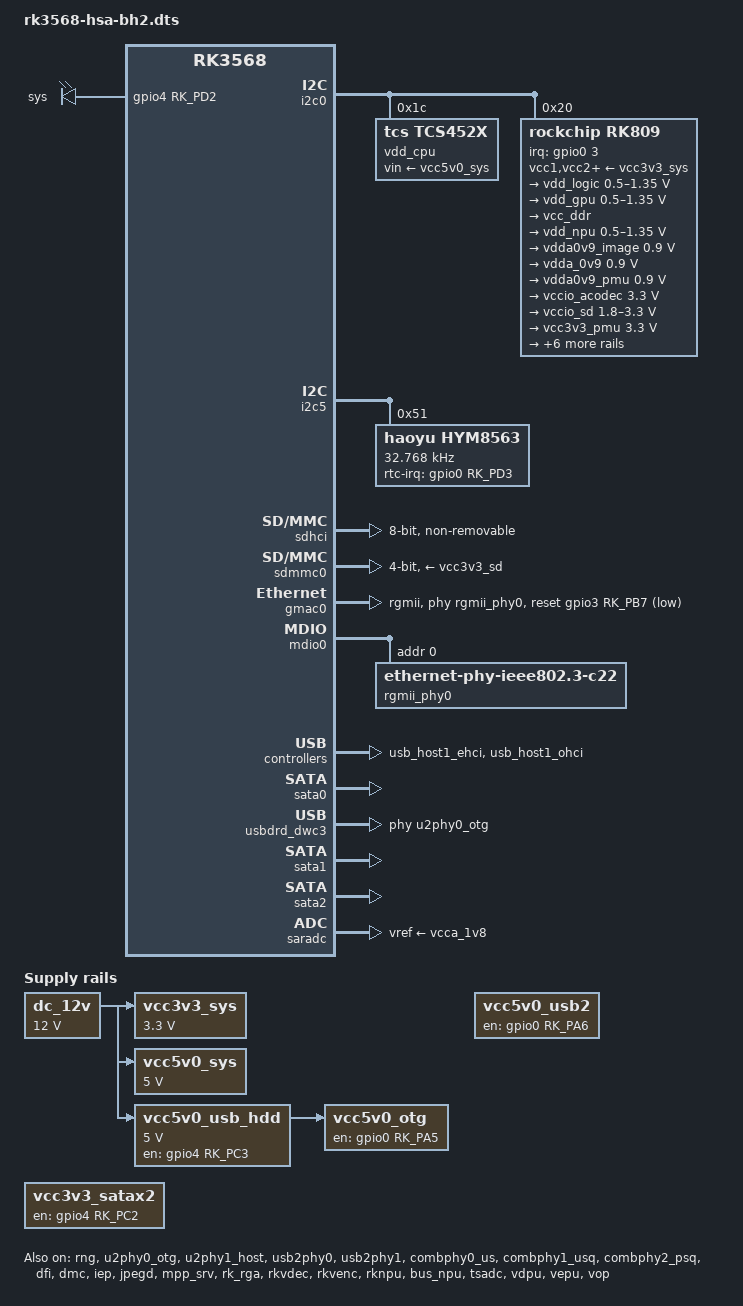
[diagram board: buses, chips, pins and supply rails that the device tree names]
// SPDX-License-Identifier: (GPL-2.0+ OR MIT)
/*
* Copyright (c) 2020 Rockchip Electronics Co., Ltd.
*
*/

/dts-v1/;

#include <dt-bindings/gpio/gpio.h>
#include <dt-bindings/pwm/pwm.h>
#include <dt-bindings/pinctrl/rockchip.h>
#include <dt-bindings/input/rk-input.h>
#include <dt-bindings/display/drm_mipi_dsi.h>
#include <dt-bindings/sensor-dev.h>
#include "rk3568.dtsi"

/ {
    compatible = "hsa,bh2", "rockchip,rk3568";

	aliases {
		led-boot = &led_sys;
		led-failsafe = &led_sys;
		led-running = &led_sys;
		led-upgrade = &led_sys;
	};

	chosen: chosen {
		bootargs = "earlycon=uart8250,mmio32,0xfe660000 console=ttyFIQ0 root=PARTLABEL=rootfs rootfstype=ext4 ro rootwait overlayroot=device:dev=PARTLABEL=userdata,fstype=ext4,mkfs=1 coherent_pool=1m systemd.gpt_auto=0 cgroup_enable=memory swapaccount=1";
	};

	fiq-debugger {
		compatible = "rockchip,fiq-debugger";
		rockchip,serial-id = <2>;
		rockchip,wake-irq = <0>;
		/* If enable uart uses irq instead of fiq */
		rockchip,irq-mode-enable = <1>;
		rockchip,baudrate = <1500000>;  /* Only 115200 and 1500000 */
		interrupts = <GIC_SPI 252 IRQ_TYPE_LEVEL_LOW>;
		pinctrl-names = "default";
		pinctrl-0 = <&uart2m0_xfer>;
		status = "okay";
	};

	debug: debug@fd904000 {
		compatible = "rockchip,debug";
		reg = <0x0 0xfd904000 0x0 0x1000>,
			<0x0 0xfd905000 0x0 0x1000>,
			<0x0 0xfd906000 0x0 0x1000>,
			<0x0 0xfd907000 0x0 0x1000>;
	};

	cspmu: cspmu@fd90c000 {
		compatible = "rockchip,cspmu";
		reg = <0x0 0xfd90c000 0x0 0x1000>,
			<0x0 0xfd90d000 0x0 0x1000>,
			<0x0 0xfd90e000 0x0 0x1000>,
			<0x0 0xfd90f000 0x0 0x1000>;
	};

    dc_12v: dc-12v {
        compatible = "regulator-fixed";
        regulator-name = "dc_12v";
        regulator-always-on;
        regulator-boot-on;
        regulator-min-microvolt = <12000000>;
        regulator-max-microvolt = <12000000>;
    };

    vcc3v3_sys: vcc3v3-sys {
        compatible = "regulator-fixed";
        regulator-name = "vcc3v3_sys";
        regulator-always-on;
        regulator-boot-on;
        regulator-min-microvolt = <3300000>;
        regulator-max-microvolt = <3300000>;
        vin-supply = <&dc_12v>;
    };

    vcc5v0_sys: vcc5v0-sys {
        compatible = "regulator-fixed";
        regulator-name = "vcc5v0_sys";
        regulator-always-on;
        regulator-boot-on;
        regulator-min-microvolt = <5000000>;
        regulator-max-microvolt = <5000000>;
        vin-supply = <&dc_12v>;
    };

	vcc5v0_usb_hdd: vcc5v0-usb-hdd {
		compatible = "regulator-fixed";
		regulator-name = "vcc5v0_usb_hdd";
		regulator-always-on;
		regulator-boot-on;
		regulator-min-microvolt = <5000000>;
		regulator-max-microvolt = <5000000>;
		vin-supply = <&dc_12v>;
        enable-active-high;
        gpio = <&gpio4 RK_PC3 GPIO_ACTIVE_HIGH>;
        pinctrl-names = "default";
        pinctrl-0 = <&vcc5v0_usb_hdd_en>;
	};

    vcc5v0_otg: vcc5v0-otg-regulator {
        compatible = "regulator-fixed";
        enable-active-high;
        gpio = <&gpio0 RK_PA5 GPIO_ACTIVE_HIGH>;
        pinctrl-names = "default";
        pinctrl-0 = <&vcc5v0_otg_en>;
        regulator-name = "vcc5v0_otg";
        vin-supply = <&vcc5v0_usb_hdd>;
    };

	vcc5v0_usb2: vcc5v0-usb2-regulator {
		compatible = "regulator-fixed";
		enable-active-high;
		gpio = <&gpio0 RK_PA6 GPIO_ACTIVE_HIGH>;
		pinctrl-names = "default";
		pinctrl-0 = <&vcc5v0_usb2_en>;
		regulator-name = "vcc5v0_usb2";
		regulator-always-on;
	};

	vcc3v3_satax2: vcc3v3-satax2-regulator {
		compatible = "regulator-fixed";
		enable-active-high;
		gpio = <&gpio4 RK_PC2 GPIO_ACTIVE_HIGH>;
		pinctrl-names = "default";
		pinctrl-0 = <&vcc3v3_satax2_en>;
		regulator-name = "vcc3v3_satax2";
		regulator-always-on;
	};

	leds {
		compatible = "gpio-leds";
		pinctrl-names = "default";
		pinctrl-0 =
            <&led_sys_en>;

		led_sys: sys {
			gpios = <&gpio4 RK_PD2 GPIO_ACTIVE_HIGH>;
			label = "sys";
			default-state = "on";
		};
	};
};

&reserved_memory {
	ramoops: ramoops@110000 {
		compatible = "ramoops";
		reg = <0x0 0x110000 0x0 0xf0000>;
		record-size = <0x20000>;
		console-size = <0x80000>;
		ftrace-size = <0x00000>;
		pmsg-size = <0x50000>;
	};
};

&rng {
	status = "okay";
};

&rockchip_suspend {
	status = "okay";
};

&pmu_io_domains {
    status = "okay";
    pmuio1-supply = <&vcc3v3_pmu>;
    pmuio2-supply = <&vcc3v3_pmu>;
    vccio1-supply = <&vccio_acodec>;
    vccio3-supply = <&vccio_sd>;
    vccio4-supply = <&vcc_1v8>;
    vccio5-supply = <&vcc_3v3>;
    vccio6-supply = <&vcc_1v8>;
    vccio7-supply = <&vcc_3v3>;
};

&i2c0 {
    status = "okay";

    vdd_cpu: tcs4525@1c {
        compatible = "tcs,tcs452x";
        reg = <0x1c>;
        vin-supply = <&vcc5v0_sys>;
        regulator-compatible = "fan53555-reg";
        regulator-name = "vdd_cpu";
        regulator-min-microvolt = <712500>;
        regulator-max-microvolt = <1390000>;
        regulator-ramp-delay = <2300>;
        fcs,suspend-voltage-selector = <1>;
        regulator-boot-on;
        regulator-always-on;
        regulator-state-mem {
            regulator-off-in-suspend;
        };
    };

    rk809: pmic@20 {
        compatible = "rockchip,rk809";
        reg = <0x20>;
        interrupt-parent = <&gpio0>;
        interrupts = <3 IRQ_TYPE_LEVEL_LOW>;

        pinctrl-names = "default", "pmic-sleep",
                "pmic-power-off", "pmic-reset";
        pinctrl-0 = <&pmic_int>;
        pinctrl-1 = <&soc_slppin_slp>, <&rk817_slppin_slp>;
        pinctrl-2 = <&soc_slppin_gpio>, <&rk817_slppin_pwrdn>;
        pinctrl-3 = <&soc_slppin_gpio>, <&rk817_slppin_rst>;

        rockchip,system-power-controller;
        wakeup-source;
        #clock-cells = <1>;
        clock-output-names = "rk808-clkout1", "rk808-clkout2";
        //fb-inner-reg-idxs = <2>;
        /* 1: rst regs (default in codes), 0: rst the pmic */
        pmic-reset-func = <0>;
        /* not save the PMIC_POWER_EN register in uboot */
        not-save-power-en = <1>;

        vcc1-supply = <&vcc3v3_sys>;
        vcc2-supply = <&vcc3v3_sys>;
        vcc3-supply = <&vcc3v3_sys>;
        vcc4-supply = <&vcc3v3_sys>;
        vcc5-supply = <&vcc3v3_sys>;
        vcc6-supply = <&vcc3v3_sys>;
        vcc7-supply = <&vcc3v3_sys>;
        vcc8-supply = <&vcc3v3_sys>;
        vcc9-supply = <&vcc3v3_sys>;

        pwrkey {
            status = "okay";
        };

        pinctrl_rk8xx: pinctrl_rk8xx {
            gpio-controller;
            #gpio-cells = <2>;

            rk817_slppin_null: rk817_slppin_null {
                pins = "gpio_slp";
                function = "pin_fun0";
            };

            rk817_slppin_slp: rk817_slppin_slp {
                pins = "gpio_slp";
                function = "pin_fun1";
            };

            rk817_slppin_pwrdn: rk817_slppin_pwrdn {
                pins = "gpio_slp";
                function = "pin_fun2";
            };

            rk817_slppin_rst: rk817_slppin_rst {
                pins = "gpio_slp";
                function = "pin_fun3";
            };
        };

        regulators {
            vdd_logic: DCDC_REG1 {
                regulator-always-on;
                regulator-boot-on;
                regulator-min-microvolt = <500000>;
                regulator-max-microvolt = <1350000>;
                regulator-init-microvolt = <900000>;
                regulator-ramp-delay = <6001>;
                regulator-initial-mode = <0x2>;
                regulator-name = "vdd_logic";
                regulator-state-mem {
                    regulator-off-in-suspend;
                };
            };

            vdd_gpu: DCDC_REG2 {
                regulator-always-on;
                regulator-boot-on;
                regulator-min-microvolt = <500000>;
                regulator-max-microvolt = <1350000>;
                regulator-init-microvolt = <900000>;
                regulator-ramp-delay = <6001>;
                regulator-initial-mode = <0x2>;
                regulator-name = "vdd_gpu";
                regulator-state-mem {
                    regulator-off-in-suspend;
                };
            };

            vcc_ddr: DCDC_REG3 {
                regulator-always-on;
                regulator-boot-on;
                regulator-initial-mode = <0x2>;
                regulator-name = "vcc_ddr";
                regulator-state-mem {
                    regulator-on-in-suspend;
                };
            };

            vdd_npu: DCDC_REG4 {
                regulator-always-on;
                regulator-boot-on;
                regulator-min-microvolt = <500000>;
                regulator-max-microvolt = <1350000>;
                regulator-init-microvolt = <900000>;
                regulator-ramp-delay = <6001>;
                regulator-initial-mode = <0x2>;
                regulator-name = "vdd_npu";
                regulator-state-mem {
                    regulator-off-in-suspend;
                };
            };

            vdda0v9_image: LDO_REG1 {
                regulator-boot-on;
                regulator-always-on;
                regulator-min-microvolt = <900000>;
                regulator-max-microvolt = <900000>;
                regulator-name = "vdda0v9_image";
                regulator-state-mem {
                    regulator-off-in-suspend;
                };
            };

            vdda_0v9: LDO_REG2 {
                regulator-always-on;
                regulator-boot-on;
                regulator-min-microvolt = <900000>;
                regulator-max-microvolt = <900000>;
                regulator-name = "vdda_0v9";
                regulator-state-mem {
                    regulator-off-in-suspend;
                };
            };

            vdda0v9_pmu: LDO_REG3 {
                regulator-always-on;
                regulator-boot-on;
                regulator-min-microvolt = <900000>;
                regulator-max-microvolt = <900000>;
                regulator-name = "vdda0v9_pmu";
                regulator-state-mem {
                    regulator-on-in-suspend;
                    regulator-suspend-microvolt = <900000>;
                };
            };

            vccio_acodec: LDO_REG4 {
                regulator-always-on;
                regulator-boot-on;
                regulator-min-microvolt = <3300000>;
                regulator-max-microvolt = <3300000>;
                regulator-name = "vccio_acodec";
                regulator-state-mem {
                    regulator-off-in-suspend;
                };
            };

            vccio_sd: LDO_REG5 {
                regulator-always-on;
                regulator-boot-on;
                regulator-min-microvolt = <1800000>;
                regulator-max-microvolt = <3300000>;
                regulator-name = "vccio_sd";
                regulator-state-mem {
                    regulator-off-in-suspend;
                };
            };

            vcc3v3_pmu: LDO_REG6 {
                regulator-always-on;
                regulator-boot-on;
                regulator-min-microvolt = <3300000>;
                regulator-max-microvolt = <3300000>;
                regulator-name = "vcc3v3_pmu";
                regulator-state-mem {
                    regulator-on-in-suspend;
                    regulator-suspend-microvolt = <3300000>;
                };
            };

            vcca_1v8: LDO_REG7 {
                regulator-always-on;
                regulator-boot-on;
                regulator-min-microvolt = <1800000>;
                regulator-max-microvolt = <1800000>;
                regulator-name = "vcca_1v8";
                regulator-state-mem {
                    regulator-off-in-suspend;
                };
            };

            vcca1v8_pmu: LDO_REG8 {
                regulator-always-on;
                regulator-boot-on;
                regulator-min-microvolt = <1800000>;
                regulator-max-microvolt = <1800000>;
                regulator-name = "vcca1v8_pmu";
                regulator-state-mem {
                    regulator-on-in-suspend;
                    regulator-suspend-microvolt = <1800000>;
                };
            };

            vcca1v8_image: LDO_REG9 {
                regulator-always-on;
                regulator-boot-on;
                regulator-min-microvolt = <1800000>;
                regulator-max-microvolt = <1800000>;
                regulator-name = "vcca1v8_image";
                regulator-state-mem {
                    regulator-off-in-suspend;
                };
            };

            vcc_1v8: DCDC_REG5 {
                regulator-always-on;
                regulator-boot-on;
                regulator-min-microvolt = <1800000>;
                regulator-max-microvolt = <1800000>;
                regulator-name = "vcc_1v8";
                regulator-state-mem {
                    regulator-off-in-suspend;
                };
            };

            vcc_3v3: SWITCH_REG1 {
                regulator-always-on;
                regulator-boot-on;
                regulator-name = "vcc_3v3";
                regulator-state-mem {
                    regulator-off-in-suspend;
                };
            };

            vcc3v3_sd: SWITCH_REG2 {
                regulator-always-on;
                regulator-boot-on;
                regulator-name = "vcc3v3_sd";
                regulator-state-mem {
                    regulator-off-in-suspend;
                };
            };
        };

		rtc {
			status = "okay";
		};
    };
};

&i2c5 {
    status = "okay";

    hym8563: hym8563@51 {
        status = "okay";
        compatible = "haoyu,hym8563";
        reg = <0x51>;
        #clock-cells = <0>;
        rtc-irq-gpio = <&gpio0 RK_PD3 IRQ_TYPE_EDGE_FALLING>;
        clock-frequency = <32768>;
        //clock-output-names = "xin32k";
        /* rtc_int is not connected */
    };
};

// Storage
// EMMC
&sdhci {
    bus-width = <8>;
    supports-emmc;
    non-removable;
    max-frequency = <200000000>;
    status = "okay";
};

// SD
&sdmmc0 {
    max-frequency = <150000000>;
    supports-sd;
    bus-width = <4>;
    cap-mmc-highspeed;
    cap-sd-highspeed;
    disable-wp;
    sd-uhs-sdr104;
    vmmc-supply = <&vcc3v3_sd>;
    vqmmc-supply = <&vccio_sd>;
    pinctrl-names = "default";
    pinctrl-0 = <&sdmmc0_bus4 &sdmmc0_clk &sdmmc0_cmd &sdmmc0_det>;
    status = "okay";
};

// NETWORK
&gmac0 {
    phy-mode = "rgmii";
    clock_in_out = "output";

    snps,reset-gpio = <&gpio3 RK_PB7 GPIO_ACTIVE_LOW>;
    snps,reset-active-low;
    /* Reset time is 20ms, 100ms for rtl8211f */
    snps,reset-delays-us = <0 20000 100000>;

    assigned-clocks = <&cru SCLK_GMAC0_RX_TX>, <&cru SCLK_GMAC0>;
    assigned-clock-parents = <&cru SCLK_GMAC0_RGMII_SPEED>, <&cru CLK_MAC0_2TOP>;
    assigned-clock-rates = <0>, <125000000>;

    pinctrl-names = "default";
    pinctrl-0 = <&gmac0_miim
            &gmac0_tx_bus2
            &gmac0_rx_bus2
            &gmac0_rgmii_clk
            &gmac0_rgmii_bus>;

    tx_delay = <0x3c>;
    rx_delay = <0x2f>;

    phy-handle = <&rgmii_phy0>;
    status = "okay";
};

&mdio0 {
    rgmii_phy0: phy@0 {
        compatible = "ethernet-phy-ieee802.3-c22";
        reg = <0x0>;
    };
};

// USB2 PHY
&u2phy0_otg {
    vbus-supply = <&vcc5v0_otg>;
    status = "okay";
};

&u2phy0_host {
    status = "disabled";
};

&u2phy1_otg {
    status = "disabled";
};

&u2phy1_host {
    phy-supply = <&vcc5v0_usb2>;
    status = "okay";
};

&usb2phy0 {
    status = "okay";
};

&usb2phy1 {
    status = "okay";
};

// USB2 HOST
&usb_host0_ehci {
    status = "disabled";
};

&usb_host0_ohci {
    status = "disabled";
};

&usb_host1_ehci {
    status = "okay";
};

&usb_host1_ohci {
    status = "okay";
};

// PCIE3
&pcie30phy {
    status = "disabled";
};
&pcie3x1 {
    status = "disabled";
};
&pcie3x2 {
    status = "disabled";
};

// START MULTI_PHY
// MULTI_PHY0
&combphy0_us {
    rockchip,dis-u3otg0-port; /* disable USB3.0 */
    status = "okay";
};

&sata0 {
    pinctrl-names = "default";
    pinctrl-0 = <&sata0_pins>;
    status = "okay";
};

&usbdrd_dwc3 {
    phys = <&u2phy0_otg>;
    phy-names = "usb2-phy";
    extcon = <&usb2phy0>;
    maximum-speed = "high-speed"; /* only USB2.0 */
    snps,dis_u2_susphy_quirk; /* only USB2.0 */
    status = "okay";
};

&usbdrd30 {
    status = "disabled";
};

// MULTI_PHY1
&combphy1_usq {
    status = "okay";
};

&sata1 {
    pinctrl-names = "default";
    pinctrl-0 = <&sata1_pins>;
    status = "okay";
};

&usbhost_dwc3 {
    status = "disabled";
};

&usbhost30 {
    status = "disabled";
};

// MULTI_PHY2
&combphy2_psq {
    status = "okay";
};

&sata2 {
    pinctrl-names = "default";
    pinctrl-0 = <&sata2_pins>;
    status = "okay";
};

&pcie2x1 {
    status = "disabled";
};

// END MULTI_PHY

&cpu0 {
    cpu-supply = <&vdd_cpu>;
};

&dfi {
    status = "okay";
};

&dmc {
    center-supply = <&vdd_logic>;
    status = "okay";
};

&gpu {
    mali-supply = <&vdd_gpu>;
    status = "disabled";
};

&iep {
    status = "okay";
};

&iep_mmu {
    status = "okay";
};

&jpegd {
    status = "okay";
};

&jpegd_mmu {
    status = "okay";
};

&mpp_srv {
    status = "okay";
};

&rk_rga {
    status = "okay";
};

&rkvdec {
    status = "okay";
};

&rkvdec_mmu {
    status = "okay";
};

&rkvenc {
    venc-supply = <&vdd_logic>;
    status = "okay";
};

&rkvenc_mmu {
    status = "okay";
};

&rknpu {
    rknpu-supply = <&vdd_npu>;
    status = "okay";
};

&rknpu_mmu {
    status = "okay";
};

&bus_npu {
    bus-supply = <&vdd_logic>;
    pvtm-supply = <&vdd_cpu>;
    status = "okay";
};

&saradc {
    status = "okay";
    vref-supply = <&vcca_1v8>;
};

&tsadc {
    status = "okay";
};

&vdpu {
    status = "okay";
};

&vdpu_mmu {
    status = "okay";
};

&vepu {
    status = "okay";
};

&vepu_mmu {
    status = "okay";
};

&vop {
    status = "okay";
    disable-win-move;
    assigned-clocks = <&cru DCLK_VOP0>, <&cru DCLK_VOP1>;
    assigned-clock-parents = <&pmucru PLL_HPLL>, <&cru PLL_VPLL>;
};

&vop_mmu {
    status = "okay";
};

&pinctrl {

    pmic {
        pmic_int: pmic_int {
            rockchip,pins =
                <0 RK_PA3 RK_FUNC_GPIO &pcfg_pull_up>;
        };

        soc_slppin_gpio: soc_slppin_gpio {
            rockchip,pins =
                <0 RK_PA2 RK_FUNC_GPIO &pcfg_output_low_pull_down>;
        };

        soc_slppin_slp: soc_slppin_slp {
            rockchip,pins =
                <0 RK_PA2 RK_FUNC_1 &pcfg_pull_up>;
        };

        soc_slppin_rst: soc_slppin_rst {
            rockchip,pins =
                <0 RK_PA2 RK_FUNC_2 &pcfg_pull_none>;
        };
    };

    usb_hdd_power {
        vcc5v0_usb_hdd_en: vcc5v0-usb-hdd-en {
            rockchip,pins = <4 RK_PC3 RK_FUNC_GPIO &pcfg_pull_none>;
        };
    };

    sata {
        vcc3v3_satax2_en: vcc3v3-satax2-en {
            rockchip,pins = <4 RK_PC2 RK_FUNC_GPIO &pcfg_pull_none>;
        };
    };

    usb {
        vcc5v0_otg_en: vcc5v0-otg-en {
            rockchip,pins = <0 RK_PA5 RK_FUNC_GPIO &pcfg_pull_none>;
        };
		vcc5v0_usb2_en: vcc5v0-usb2-en {
			rockchip,pins = <0 RK_PA6 RK_FUNC_GPIO &pcfg_pull_none>;
		};
    };

    led {
        led_sys_en: led-sys-en {
            rockchip,pins = <4 RK_PD2 RK_FUNC_GPIO &pcfg_pull_none>;
        };
    };
};
